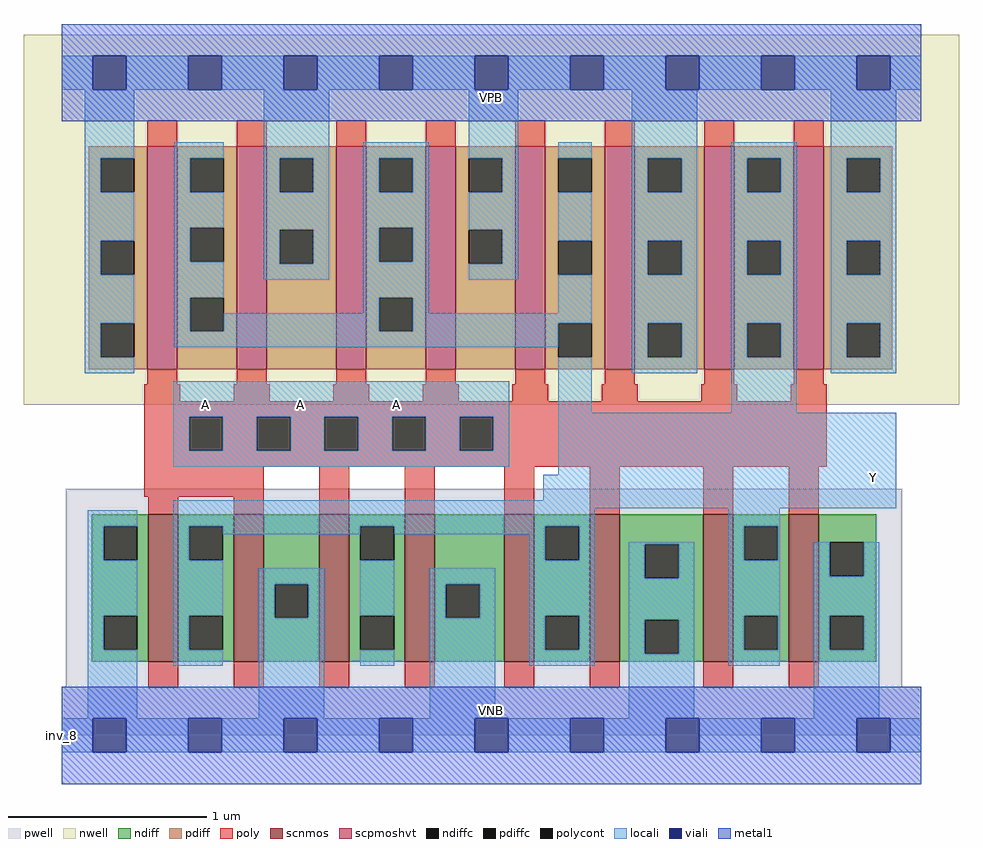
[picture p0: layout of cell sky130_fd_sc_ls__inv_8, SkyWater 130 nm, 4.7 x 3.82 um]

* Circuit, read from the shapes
.subckt sky130_fd_sc_ls__inv_8 A VGND VNB VPB VPWR Y
XM1 Y A VGND VNB sky130_fd_pr__nfet_01v8 w=0.74 l=0.15 m=8
XM2 Y A VPWR VPB sky130_fd_pr__pfet_01v8_hvt w=1.12 l=0.15 m=8
.ends

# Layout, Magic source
magic
tech sky130A
magscale 1 2
<< nwell >>
rect -38 332 902 704
<< pwell >>
rect 4 49 845 248
rect 0 0 864 49
<< scnmos >>
rect 87 74 117 222
rect 173 74 203 222
rect 259 74 289 222
rect 345 74 375 222
rect 445 74 475 222
rect 531 74 561 222
rect 645 74 675 222
rect 731 74 761 222
<< scpmoshvt >>
rect 86 368 116 592
rect 176 368 206 592
rect 276 368 306 592
rect 366 368 396 592
rect 456 368 486 592
rect 546 368 576 592
rect 646 368 676 592
rect 736 368 766 592
<< ndiff >>
rect 30 210 87 222
rect 30 176 42 210
rect 76 176 87 210
rect 30 120 87 176
rect 30 86 42 120
rect 76 86 87 120
rect 30 74 87 86
rect 117 210 173 222
rect 117 176 128 210
rect 162 176 173 210
rect 117 120 173 176
rect 117 86 128 120
rect 162 86 173 120
rect 117 74 173 86
rect 203 152 259 222
rect 203 118 214 152
rect 248 118 259 152
rect 203 74 259 118
rect 289 210 345 222
rect 289 176 300 210
rect 334 176 345 210
rect 289 120 345 176
rect 289 86 300 120
rect 334 86 345 120
rect 289 74 345 86
rect 375 152 445 222
rect 375 118 386 152
rect 420 118 445 152
rect 375 74 445 118
rect 475 210 531 222
rect 475 176 486 210
rect 520 176 531 210
rect 475 120 531 176
rect 475 86 486 120
rect 520 86 531 120
rect 475 74 531 86
rect 561 192 645 222
rect 561 158 586 192
rect 620 158 645 192
rect 561 116 645 158
rect 561 82 586 116
rect 620 82 645 116
rect 561 74 645 82
rect 675 210 731 222
rect 675 176 686 210
rect 720 176 731 210
rect 675 120 731 176
rect 675 86 686 120
rect 720 86 731 120
rect 675 74 731 86
rect 761 194 819 222
rect 761 160 772 194
rect 806 160 819 194
rect 761 120 819 160
rect 761 86 772 120
rect 806 86 819 120
rect 761 74 819 86
<< pdiff >>
rect 27 580 86 592
rect 27 546 39 580
rect 73 546 86 580
rect 27 497 86 546
rect 27 463 39 497
rect 73 463 86 497
rect 27 414 86 463
rect 27 380 39 414
rect 73 380 86 414
rect 27 368 86 380
rect 116 580 176 592
rect 116 546 129 580
rect 163 546 176 580
rect 116 510 176 546
rect 116 476 129 510
rect 163 476 176 510
rect 116 440 176 476
rect 116 406 129 440
rect 163 406 176 440
rect 116 368 176 406
rect 206 580 276 592
rect 206 546 219 580
rect 253 546 276 580
rect 206 508 276 546
rect 206 474 219 508
rect 253 474 276 508
rect 206 368 276 474
rect 306 580 366 592
rect 306 546 319 580
rect 353 546 366 580
rect 306 510 366 546
rect 306 476 319 510
rect 353 476 366 510
rect 306 440 366 476
rect 306 406 319 440
rect 353 406 366 440
rect 306 368 366 406
rect 396 580 456 592
rect 396 546 409 580
rect 443 546 456 580
rect 396 508 456 546
rect 396 474 409 508
rect 443 474 456 508
rect 396 368 456 474
rect 486 580 546 592
rect 486 546 499 580
rect 533 546 546 580
rect 486 497 546 546
rect 486 463 499 497
rect 533 463 546 497
rect 486 414 546 463
rect 486 380 499 414
rect 533 380 546 414
rect 486 368 546 380
rect 576 580 646 592
rect 576 546 589 580
rect 623 546 646 580
rect 576 497 646 546
rect 576 463 589 497
rect 623 463 646 497
rect 576 414 646 463
rect 576 380 589 414
rect 623 380 646 414
rect 576 368 646 380
rect 676 580 736 592
rect 676 546 689 580
rect 723 546 736 580
rect 676 497 736 546
rect 676 463 689 497
rect 723 463 736 497
rect 676 414 736 463
rect 676 380 689 414
rect 723 380 736 414
rect 676 368 736 380
rect 766 580 835 592
rect 766 546 789 580
rect 823 546 835 580
rect 766 497 835 546
rect 766 463 789 497
rect 823 463 835 497
rect 766 414 835 463
rect 766 380 789 414
rect 823 380 835 414
rect 766 368 835 380
<< ndiffc >>
rect 42 176 76 210
rect 42 86 76 120
rect 128 176 162 210
rect 128 86 162 120
rect 214 118 248 152
rect 300 176 334 210
rect 300 86 334 120
rect 386 118 420 152
rect 486 176 520 210
rect 486 86 520 120
rect 586 158 620 192
rect 586 82 620 116
rect 686 176 720 210
rect 686 86 720 120
rect 772 160 806 194
rect 772 86 806 120
<< pdiffc >>
rect 39 546 73 580
rect 39 463 73 497
rect 39 380 73 414
rect 129 546 163 580
rect 129 476 163 510
rect 129 406 163 440
rect 219 546 253 580
rect 219 474 253 508
rect 319 546 353 580
rect 319 476 353 510
rect 319 406 353 440
rect 409 546 443 580
rect 409 474 443 508
rect 499 546 533 580
rect 499 463 533 497
rect 499 380 533 414
rect 589 546 623 580
rect 589 463 623 497
rect 589 380 623 414
rect 689 546 723 580
rect 689 463 723 497
rect 689 380 723 414
rect 789 546 823 580
rect 789 463 823 497
rect 789 380 823 414
<< poly >>
rect 86 592 116 618
rect 176 592 206 618
rect 276 592 306 618
rect 366 592 396 618
rect 456 592 486 618
rect 546 592 576 618
rect 646 592 676 618
rect 736 592 766 618
rect 86 353 116 368
rect 176 353 206 368
rect 276 353 306 368
rect 366 353 396 368
rect 456 353 486 368
rect 546 353 576 368
rect 646 353 676 368
rect 736 353 766 368
rect 83 336 119 353
rect 173 336 209 353
rect 273 336 309 353
rect 363 336 399 353
rect 453 336 489 353
rect 543 336 579 353
rect 643 336 679 353
rect 733 336 769 353
rect 83 320 769 336
rect 83 286 128 320
rect 162 286 196 320
rect 230 286 264 320
rect 298 286 332 320
rect 366 286 400 320
rect 434 286 769 320
rect 83 270 769 286
rect 83 240 203 270
rect 87 222 117 240
rect 173 222 203 240
rect 259 222 289 270
rect 345 222 375 270
rect 445 222 475 270
rect 531 222 561 270
rect 645 222 675 270
rect 731 222 761 270
rect 87 48 117 74
rect 173 48 203 74
rect 259 48 289 74
rect 345 48 375 74
rect 445 48 475 74
rect 531 48 561 74
rect 645 48 675 74
rect 731 48 761 74
<< polycont >>
rect 128 286 162 320
rect 196 286 230 320
rect 264 286 298 320
rect 332 286 366 320
rect 400 286 434 320
<< locali >>
rect 0 649 31 683
rect 65 649 127 683
rect 161 649 223 683
rect 257 649 319 683
rect 353 649 415 683
rect 449 649 511 683
rect 545 649 607 683
rect 641 649 703 683
rect 737 649 799 683
rect 833 649 864 683
rect 23 580 73 649
rect 23 546 39 580
rect 23 497 73 546
rect 23 463 39 497
rect 23 414 73 463
rect 23 380 39 414
rect 113 580 163 596
rect 113 546 129 580
rect 113 510 163 546
rect 113 476 129 510
rect 113 440 163 476
rect 203 580 269 649
rect 203 546 219 580
rect 253 546 269 580
rect 203 508 269 546
rect 203 474 219 508
rect 253 474 269 508
rect 203 458 269 474
rect 303 580 369 596
rect 303 546 319 580
rect 353 546 369 580
rect 303 510 369 546
rect 303 476 319 510
rect 353 476 369 510
rect 113 406 129 440
rect 303 440 369 476
rect 409 580 459 649
rect 443 546 459 580
rect 409 508 459 546
rect 443 474 459 508
rect 409 458 459 474
rect 499 580 533 596
rect 499 497 533 546
rect 303 424 319 440
rect 163 406 319 424
rect 353 424 369 440
rect 499 424 533 463
rect 353 414 533 424
rect 353 406 499 414
rect 113 390 499 406
rect 23 364 73 380
rect 112 320 450 356
rect 112 286 128 320
rect 162 286 196 320
rect 230 286 264 320
rect 298 286 332 320
rect 366 286 400 320
rect 434 286 450 320
rect 112 270 450 286
rect 499 324 533 380
rect 573 580 639 649
rect 573 546 589 580
rect 623 546 639 580
rect 573 497 639 546
rect 573 463 589 497
rect 623 463 639 497
rect 573 414 639 463
rect 573 380 589 414
rect 623 380 639 414
rect 573 364 639 380
rect 673 580 739 596
rect 673 546 689 580
rect 723 546 739 580
rect 673 497 739 546
rect 673 463 689 497
rect 723 463 739 497
rect 673 414 739 463
rect 673 380 689 414
rect 723 380 739 414
rect 673 324 739 380
rect 773 580 839 649
rect 773 546 789 580
rect 823 546 839 580
rect 773 497 839 546
rect 773 463 789 497
rect 823 463 839 497
rect 773 414 839 463
rect 773 380 789 414
rect 823 380 839 414
rect 773 364 839 380
rect 499 262 839 324
rect 484 236 839 262
rect 112 228 839 236
rect 26 210 76 226
rect 26 176 42 210
rect 26 120 76 176
rect 26 86 42 120
rect 26 17 76 86
rect 112 210 536 228
rect 112 176 128 210
rect 162 202 300 210
rect 112 120 162 176
rect 334 202 486 210
rect 112 86 128 120
rect 112 70 162 86
rect 198 152 264 168
rect 198 118 214 152
rect 248 118 264 152
rect 198 17 264 118
rect 300 120 334 176
rect 470 176 486 202
rect 520 176 536 210
rect 670 210 722 228
rect 300 70 334 86
rect 370 152 436 168
rect 370 118 386 152
rect 420 118 436 152
rect 370 17 436 118
rect 470 120 536 176
rect 470 86 486 120
rect 520 86 536 120
rect 470 70 536 86
rect 570 192 636 194
rect 570 158 586 192
rect 620 158 636 192
rect 570 116 636 158
rect 570 82 586 116
rect 620 82 636 116
rect 570 17 636 82
rect 670 176 686 210
rect 720 176 722 210
rect 670 120 722 176
rect 670 86 686 120
rect 720 86 722 120
rect 670 70 722 86
rect 756 160 772 194
rect 806 160 822 194
rect 756 120 822 160
rect 756 86 772 120
rect 806 86 822 120
rect 756 17 822 86
rect 0 -17 31 17
rect 65 -17 127 17
rect 161 -17 223 17
rect 257 -17 319 17
rect 353 -17 415 17
rect 449 -17 511 17
rect 545 -17 607 17
rect 641 -17 703 17
rect 737 -17 799 17
rect 833 -17 864 17
<< viali >>
rect 31 649 65 683
rect 127 649 161 683
rect 223 649 257 683
rect 319 649 353 683
rect 415 649 449 683
rect 511 649 545 683
rect 607 649 641 683
rect 703 649 737 683
rect 799 649 833 683
rect 31 -17 65 17
rect 127 -17 161 17
rect 223 -17 257 17
rect 319 -17 353 17
rect 415 -17 449 17
rect 511 -17 545 17
rect 607 -17 641 17
rect 703 -17 737 17
rect 799 -17 833 17
<< metal1 >>
rect 0 683 864 715
rect 0 649 31 683
rect 65 649 127 683
rect 161 649 223 683
rect 257 649 319 683
rect 353 649 415 683
rect 449 649 511 683
rect 545 649 607 683
rect 641 649 703 683
rect 737 649 799 683
rect 833 649 864 683
rect 0 617 864 649
rect 0 17 864 49
rect 0 -17 31 17
rect 65 -17 127 17
rect 161 -17 223 17
rect 257 -17 319 17
rect 353 -17 415 17
rect 449 -17 511 17
rect 545 -17 607 17
rect 641 -17 703 17
rect 737 -17 799 17
rect 833 -17 864 17
rect 0 -49 864 -17
<< labels >>
rlabel comment s 0 0 0 0 4 inv_8
flabel pwell s 0 0 864 49 0 FreeSans 200 0 0 0 VNB
port 3 nsew ground bidirectional
flabel nwell s 0 617 864 666 0 FreeSans 200 0 0 0 VPB
port 4 nsew power bidirectional
flabel metal1 s 0 617 864 666 0 FreeSans 340 0 0 0 VPWR
port 5 nsew power bidirectional abutment
flabel metal1 s 0 0 864 49 0 FreeSans 340 0 0 0 VGND
port 2 nsew ground bidirectional abutment
flabel locali s 127 316 161 350 0 FreeSans 340 0 0 0 A
port 1 nsew signal input
flabel locali s 223 316 257 350 0 FreeSans 340 0 0 0 A
port 1 nsew signal input
flabel locali s 319 316 353 350 0 FreeSans 340 0 0 0 A
port 1 nsew signal input
flabel locali s 799 242 833 276 0 FreeSans 340 0 0 0 Y
port 6 nsew signal output
<< properties >>
string LEFsite unit
string LEFclass CORE
string FIXED_BBOX 0 0 864 666
string GDS_FILE $PDKPATH/libs.ref/sky130_fd_sc_ls/gds/sky130_fd_sc_ls.gds
string LEFsymmetry X Y
string GDS_END 3202872
string GDS_START 3195300
<< end >>
